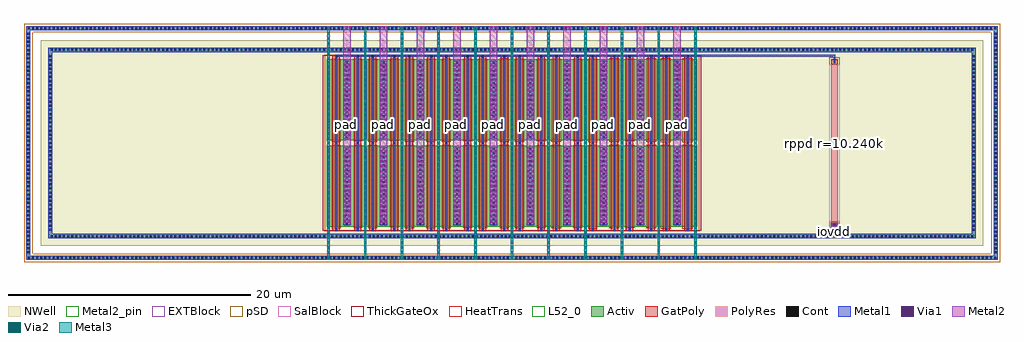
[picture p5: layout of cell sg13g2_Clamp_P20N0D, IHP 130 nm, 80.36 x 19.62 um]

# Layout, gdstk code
import gdstk
lib = gdstk.Library(unit=1e-6, precision=1e-09)
def R(c, l, rs):  # rectangles x0, y0, x1, y1
    for r in rs: c.add(gdstk.rectangle(r[:2], r[2:], *l))
def A(c, l, x, y, w, h, nx, ny, dx, dy):  # array of equal rectangles
    R(c, l, [(x+i*dx, y+j*dy, x+i*dx+w, y+j*dy+h) for i in range(nx) for j in range(ny)])
def P(c, l, *ps):  # polygons
    for p in ps: c.add(gdstk.Polygon(p, *l))
Activ = (1, 0)
GatPoly = (5, 0)
Cont = (6, 0)
Metal1 = (8, 0)
Metal2 = (10, 0)
Metal2_pin = (10, 2)
pSD = (14, 0)
Via1 = (19, 0)
SalBlock = (28, 0)
Via2 = (29, 0)
Metal3 = (30, 0)
NWell = (31, 0)
ThickGateOx = (44, 0)
HeatTrans = (51, 0)
L52_0 = (52, 0)
EXTBlock = (111, 0)
PolyRes = (128, 0)

sg13g2_guardring_p16000w = lib.new_cell('sg13g2_GuardRing_P16000W3852HFF')
P(sg13g2_guardring_p16000w, Activ, [(-40,-9.63),(-40,9.29),(-39.66,9.29),(-39.66,-9.29),(39.66,-9.29),(39.66,9.29),(-40,9.29),(-40,9.63),(40,9.63),(40,-9.63)])
A(sg13g2_guardring_p16000w, Cont, -39.86, -9.54, 0.16, 0.16, 235, 2, 0.34, 18.92)
A(sg13g2_guardring_p16000w, Cont, -39.91, -9.09, 0.16, 0.16, 1, 54, 0, 0.34)
A(sg13g2_guardring_p16000w, Cont, 39.75, -9.09, 0.16, 0.16, 1, 54, 0, 0.34)
P(sg13g2_guardring_p16000w, Metal1, [(-40,-9.63),(-40,9.29),(-39.66,9.29),(-39.66,-9.29),(39.66,-9.29),(39.66,9.29),(-40,9.29),(-40,9.63),(40,9.63),(40,-9.63)])
P(sg13g2_guardring_p16000w, pSD, [(-40.18,-9.81),(-40.18,9.11),(-39.48,9.11),(-39.48,-9.11),(39.48,-9.11),(39.48,9.11),(-40.18,9.11),(-40.18,9.81),(40.18,9.81),(40.18,-9.81)])
sg13g2_guardring_p16000w.add(gdstk.Label('sub!', (-39.83,-9.46), layer=63, texttype=0))

sg13g2_guardring_n15280w = lib.new_cell('sg13g2_GuardRing_N15280W3132HTF')
P(sg13g2_guardring_n15280w, Activ, [(-38.2,-7.83),(-38.2,7.49),(-37.86,7.49),(-37.86,-7.49),(37.86,-7.49),(37.86,7.49),(-38.2,7.49),(-38.2,7.83),(38.2,7.83),(38.2,-7.83)])
A(sg13g2_guardring_n15280w, Cont, -37.99, -7.74, 0.16, 0.16, 224, 2, 0.34, 15.32)
A(sg13g2_guardring_n15280w, Cont, -38.11, -7.22, 0.16, 0.16, 1, 43, 0, 0.34)
A(sg13g2_guardring_n15280w, Cont, 37.95, -7.22, 0.16, 0.16, 1, 43, 0, 0.34)
P(sg13g2_guardring_n15280w, Metal1, [(-38.2,-7.83),(-38.2,7.49),(-37.86,7.49),(-37.86,-7.49),(37.86,-7.49),(37.86,7.49),(-38.2,7.49),(-38.2,7.83),(38.2,7.83),(38.2,-7.83)])
R(sg13g2_guardring_n15280w, NWell, [(-38.82,-8.45,38.82,8.45)])

sg13g2_clamp_p20n0d = lib.new_cell('sg13g2_Clamp_P20N0D')
R(sg13g2_clamp_p20n0d, Activ, [(24.75,2.75,55.25,9.41), (24.75,9.85,55.25,16.51)])
R(sg13g2_clamp_p20n0d, GatPoly, [(25.22,2.38,25.82,16.88), (27,2.38,27.6,16.88), (28.24,2.38,28.84,16.88), (30.02,2.38,30.62,16.88), (31.26,2.38,31.86,16.88), (33.04,2.38,33.64,16.88), (34.28,2.38,34.88,16.88), (36.06,2.38,36.66,16.88), (37.3,2.38,37.9,16.88), (39.08,2.38,39.68,16.88), (40.32,2.38,40.92,16.88), (42.1,2.38,42.7,16.88), (43.34,2.38,43.94,16.88), (45.12,2.38,45.72,16.88), (46.36,2.38,46.96,16.88), (48.14,2.38,48.74,16.88), (49.38,2.38,49.98,16.88), (51.16,2.38,51.76,16.88), (52.4,2.38,53,16.88), (54.18,2.38,54.78,16.88), (66.305,2.75,66.805,3.18), (66.305,16.08,66.805,16.51)])
A(sg13g2_clamp_p20n0d, Cont, 25.44, 2.45, 0.16, 0.16, 1, 3, 0, 7.1)
A(sg13g2_clamp_p20n0d, Cont, 27.22, 2.45, 0.16, 0.16, 1, 3, 0, 7.1)
A(sg13g2_clamp_p20n0d, Cont, 28.46, 2.45, 0.16, 0.16, 1, 3, 0, 7.1)
A(sg13g2_clamp_p20n0d, Cont, 30.24, 2.45, 0.16, 0.16, 1, 3, 0, 7.1)
A(sg13g2_clamp_p20n0d, Cont, 31.48, 2.45, 0.16, 0.16, 1, 3, 0, 7.1)
A(sg13g2_clamp_p20n0d, Cont, 33.26, 2.45, 0.16, 0.16, 1, 3, 0, 7.1)
A(sg13g2_clamp_p20n0d, Cont, 34.5, 2.45, 0.16, 0.16, 1, 3, 0, 7.1)
A(sg13g2_clamp_p20n0d, Cont, 36.28, 2.45, 0.16, 0.16, 1, 3, 0, 7.1)
A(sg13g2_clamp_p20n0d, Cont, 37.52, 2.45, 0.16, 0.16, 1, 3, 0, 7.1)
A(sg13g2_clamp_p20n0d, Cont, 39.3, 2.45, 0.16, 0.16, 1, 3, 0, 7.1)
A(sg13g2_clamp_p20n0d, Cont, 40.54, 2.45, 0.16, 0.16, 1, 3, 0, 7.1)
A(sg13g2_clamp_p20n0d, Cont, 42.32, 2.45, 0.16, 0.16, 1, 3, 0, 7.1)
A(sg13g2_clamp_p20n0d, Cont, 43.56, 2.45, 0.16, 0.16, 1, 3, 0, 7.1)
A(sg13g2_clamp_p20n0d, Cont, 45.34, 2.45, 0.16, 0.16, 1, 3, 0, 7.1)
A(sg13g2_clamp_p20n0d, Cont, 46.58, 2.45, 0.16, 0.16, 1, 3, 0, 7.1)
A(sg13g2_clamp_p20n0d, Cont, 48.36, 2.45, 0.16, 0.16, 1, 3, 0, 7.1)
A(sg13g2_clamp_p20n0d, Cont, 49.6, 2.45, 0.16, 0.16, 1, 3, 0, 7.1)
A(sg13g2_clamp_p20n0d, Cont, 51.38, 2.45, 0.16, 0.16, 1, 3, 0, 7.1)
A(sg13g2_clamp_p20n0d, Cont, 52.62, 2.45, 0.16, 0.16, 1, 3, 0, 7.1)
A(sg13g2_clamp_p20n0d, Cont, 54.4, 2.45, 0.16, 0.16, 1, 3, 0, 7.1)
A(sg13g2_clamp_p20n0d, Cont, 24.82, 2.94, 0.16, 0.16, 21, 19, 1.51, 0.34)
A(sg13g2_clamp_p20n0d, Cont, 24.82, 10.04, 0.16, 0.16, 21, 19, 1.51, 0.34)
R(sg13g2_clamp_p20n0d, Cont, [(66.475,2.82,66.635,2.98), (66.475,16.28,66.635,16.44)])
A(sg13g2_clamp_p20n0d, Metal1, 24.795, 1.8, 0.21, 0.34, 11, 2, 3.02, 15.32)
A(sg13g2_clamp_p20n0d, Metal1, 24.795, 2.86, 0.21, 6.44, 11, 2, 3.02, 7.1)
A(sg13g2_clamp_p20n0d, Metal1, 26.1, 2.86, 0.62, 6.44, 10, 2, 3.02, 7.1)
R(sg13g2_clamp_p20n0d, Metal1, [(66.245,1.825,66.865,2.115)])
P(sg13g2_clamp_p20n0d, Metal1, [(66.475,2.74),(66.475,2.755),(66.245,2.755),(66.245,3.045),(66.475,3.045),(66.475,3.06),(66.635,3.06),(66.635,3.045),(66.865,3.045),(66.865,2.755),(66.635,2.755),(66.635,2.74)],
  [(25.44,2.37),(25.44,16.89),(66.635,16.89),(66.635,16.2),(66.475,16.2),(66.475,16.73),(54.56,16.73),(54.56,2.37),(54.4,2.37),(54.4,16.73),(52.78,16.73),(52.78,2.37),(52.62,2.37),(52.62,16.73),(51.54,16.73),(51.54,2.37),(51.38,2.37),(51.38,16.73),(49.76,16.73),(49.76,2.37),(49.6,2.37),(49.6,16.73),(48.52,16.73),(48.52,2.37),(48.36,2.37),(48.36,16.73),(46.74,16.73),(46.74,2.37),(46.58,2.37),(46.58,16.73),(45.5,16.73),(45.5,2.37),(45.34,2.37),(45.34,16.73),(43.72,16.73),(43.72,2.37),(43.56,2.37),(43.56,16.73),(42.48,16.73),(42.48,2.37),(42.32,2.37),(42.32,16.73),(40.7,16.73),(40.7,2.37),(40.54,2.37),(40.54,16.73),(39.46,16.73),(39.46,2.37),(39.3,2.37),(39.3,16.73),(37.68,16.73),(37.68,2.37),(37.52,2.37),(37.52,16.73),(36.44,16.73),(36.44,2.37),(36.28,2.37),(36.28,16.73),(34.66,16.73),(34.66,2.37),(34.5,2.37),(34.5,16.73),(33.42,16.73),(33.42,2.37),(33.26,2.37),(33.26,16.73),(31.64,16.73),(31.64,2.37),(31.48,2.37),(31.48,16.73),(30.4,16.73),(30.4,2.37),(30.24,2.37),(30.24,16.73),(28.62,16.73),(28.62,2.37),(28.46,2.37),(28.46,16.73),(27.38,16.73),(27.38,2.37),(27.22,2.37),(27.22,16.73),(25.6,16.73),(25.6,2.37)])
A(sg13g2_clamp_p20n0d, Metal2, 24.8, 0, 0.2, 19.26, 11, 1, 3.02, 0)
A(sg13g2_clamp_p20n0d, Metal2, 26.105, 3.065, 0.61, 16.195, 10, 1, 3.02, 0)
R(sg13g2_clamp_p20n0d, Metal2, [(66.25,1.825,66.86,3.045)])
A(sg13g2_clamp_p20n0d, Metal2_pin, 26.105, 3.065, 0.61, 16.195, 10, 1, 3.02, 0)
R(sg13g2_clamp_p20n0d, pSD, [(24.57,2.35,55.43,16.91), (66.125,2.57,66.985,16.69)])
A(sg13g2_clamp_p20n0d, Via1, 24.805, 1.875, 0.19, 0.19, 11, 2, 3.02, 15.32)
A(sg13g2_clamp_p20n0d, Via1, 24.805, 3.115, 0.19, 0.19, 1, 15, 0, 0.41)
A(sg13g2_clamp_p20n0d, Via1, 26.11, 3.115, 0.19, 0.19, 1, 15, 0, 0.41)
A(sg13g2_clamp_p20n0d, Via1, 26.52, 3.115, 0.19, 0.19, 3, 15, 1.305, 0.41)
A(sg13g2_clamp_p20n0d, Via1, 29.54, 3.115, 0.19, 0.19, 3, 15, 1.305, 0.41)
A(sg13g2_clamp_p20n0d, Via1, 32.56, 3.115, 0.19, 0.19, 3, 15, 1.305, 0.41)
A(sg13g2_clamp_p20n0d, Via1, 35.58, 3.115, 0.19, 0.19, 3, 15, 1.305, 0.41)
A(sg13g2_clamp_p20n0d, Via1, 38.6, 3.115, 0.19, 0.19, 3, 15, 1.305, 0.41)
A(sg13g2_clamp_p20n0d, Via1, 41.62, 3.115, 0.19, 0.19, 3, 15, 1.305, 0.41)
A(sg13g2_clamp_p20n0d, Via1, 44.64, 3.115, 0.19, 0.19, 3, 15, 1.305, 0.41)
A(sg13g2_clamp_p20n0d, Via1, 47.66, 3.115, 0.19, 0.19, 3, 15, 1.305, 0.41)
A(sg13g2_clamp_p20n0d, Via1, 50.68, 3.115, 0.19, 0.19, 3, 15, 1.305, 0.41)
A(sg13g2_clamp_p20n0d, Via1, 53.7, 3.115, 0.19, 0.19, 1, 15, 0, 0.41)
A(sg13g2_clamp_p20n0d, Via1, 55.005, 3.115, 0.19, 0.19, 1, 15, 0, 0.41)
A(sg13g2_clamp_p20n0d, Via1, 24.805, 10.215, 0.19, 0.19, 1, 15, 0, 0.41)
A(sg13g2_clamp_p20n0d, Via1, 26.11, 10.215, 0.19, 0.19, 1, 15, 0, 0.41)
A(sg13g2_clamp_p20n0d, Via1, 26.52, 10.215, 0.19, 0.19, 3, 15, 1.305, 0.41)
A(sg13g2_clamp_p20n0d, Via1, 29.54, 10.215, 0.19, 0.19, 3, 15, 1.305, 0.41)
A(sg13g2_clamp_p20n0d, Via1, 32.56, 10.215, 0.19, 0.19, 3, 15, 1.305, 0.41)
A(sg13g2_clamp_p20n0d, Via1, 35.58, 10.215, 0.19, 0.19, 3, 15, 1.305, 0.41)
A(sg13g2_clamp_p20n0d, Via1, 38.6, 10.215, 0.19, 0.19, 3, 15, 1.305, 0.41)
A(sg13g2_clamp_p20n0d, Via1, 41.62, 10.215, 0.19, 0.19, 3, 15, 1.305, 0.41)
A(sg13g2_clamp_p20n0d, Via1, 44.64, 10.215, 0.19, 0.19, 3, 15, 1.305, 0.41)
A(sg13g2_clamp_p20n0d, Via1, 47.66, 10.215, 0.19, 0.19, 3, 15, 1.305, 0.41)
A(sg13g2_clamp_p20n0d, Via1, 50.68, 10.215, 0.19, 0.19, 3, 15, 1.305, 0.41)
A(sg13g2_clamp_p20n0d, Via1, 53.7, 10.215, 0.19, 0.19, 1, 15, 0, 0.41)
A(sg13g2_clamp_p20n0d, Via1, 55.005, 10.215, 0.19, 0.19, 1, 15, 0, 0.41)
R(sg13g2_clamp_p20n0d, Via1, [(66.255,1.875,66.445,2.065), (66.665,1.875,66.855,2.065), (66.255,2.805,66.445,2.995), (66.665,2.805,66.855,2.995)])
R(sg13g2_clamp_p20n0d, SalBlock, [(66.105,3.18,67.005,16.08)])
A(sg13g2_clamp_p20n0d, Via2, 24.805, 0.105, 0.19, 0.19, 11, 47, 3.02, 0.41)
A(sg13g2_clamp_p20n0d, Metal3, 24.8, 0.055, 0.2, 19.15, 11, 1, 3.02, 0)
R(sg13g2_clamp_p20n0d, NWell, [(24.13,2.13,55.87,17.13)])
R(sg13g2_clamp_p20n0d, ThickGateOx, [(24.41,2.41,55.59,16.85)])
R(sg13g2_clamp_p20n0d, HeatTrans, [(46.284,2.578,47.034,9.436), (52.258,2.583,53.067,9.463), (54.033,2.583,54.891,9.469), (31.164,2.594,31.968,9.453), (40.219,2.599,40.991,9.458), (43.225,2.599,44.045,9.436), (34.202,2.605,34.957,9.447), (37.218,2.605,37.958,9.447), (28.147,2.615,28.924,9.431), (32.955,2.615,33.689,9.447), (38.972,2.615,39.749,9.49), (25.163,2.621,25.897,9.426), (51.065,2.621,51.859,9.469), (47.99,2.626,48.815,9.469), (45.043,2.632,45.799,9.436), (49.322,2.632,50.089,9.458), (42.021,2.637,42.793,9.453), (35.967,2.642,36.738,9.436), (26.955,2.659,27.651,9.436), (29.95,2.675,30.694,9.453), (46.284,9.703,47.034,16.561), (52.258,9.708,53.067,16.588), (54.033,9.708,54.891,16.594), (31.164,9.719,31.968,16.578), (40.219,9.724,40.991,16.583), (43.225,9.724,44.045,16.561), (34.202,9.73,34.957,16.572), (37.218,9.73,37.958,16.572), (28.147,9.74,28.924,16.556), (32.955,9.74,33.689,16.572), (38.972,9.74,39.749,16.615), (25.163,9.746,25.897,16.551), (51.065,9.746,51.859,16.594), (47.99,9.751,48.815,16.594), (45.043,9.757,45.799,16.561), (49.322,9.757,50.089,16.583), (42.021,9.762,42.793,16.578), (35.967,9.767,36.738,16.561), (26.955,9.784,27.651,16.561), (29.95,9.8,30.694,16.578)])
R(sg13g2_clamp_p20n0d, L52_0, [(66.305,3.18,66.805,16.08)])
P(sg13g2_clamp_p20n0d, L52_0, [(67.732,13.222),(67.732,13.222),(67.732,13.222),(67.732,13.222)])
R(sg13g2_clamp_p20n0d, EXTBlock, [(66.125,2.57,66.985,16.69)])
R(sg13g2_clamp_p20n0d, PolyRes, [(66.305,3.18,66.805,16.08)])
sg13g2_clamp_p20n0d.add(gdstk.Reference(sg13g2_guardring_p16000w, (40,9.63)))
sg13g2_clamp_p20n0d.add(gdstk.Reference(sg13g2_guardring_n15280w, (40,9.63)))
sg13g2_clamp_p20n0d.add(gdstk.Label('rppd r=10.240k', (66.555,9.63), layer=63, texttype=0))
sg13g2_clamp_p20n0d.add(gdstk.Label('pad', (26.41,11.163), layer=63, texttype=0))
sg13g2_clamp_p20n0d.add(gdstk.Label('pad', (29.43,11.163), layer=63, texttype=0))
sg13g2_clamp_p20n0d.add(gdstk.Label('pad', (32.45,11.163), layer=63, texttype=0))
sg13g2_clamp_p20n0d.add(gdstk.Label('pad', (35.47,11.163), layer=63, texttype=0))
sg13g2_clamp_p20n0d.add(gdstk.Label('pad', (38.49,11.163), layer=63, texttype=0))
sg13g2_clamp_p20n0d.add(gdstk.Label('pad', (41.51,11.163), layer=63, texttype=0))
sg13g2_clamp_p20n0d.add(gdstk.Label('pad', (44.53,11.163), layer=63, texttype=0))
sg13g2_clamp_p20n0d.add(gdstk.Label('pad', (47.55,11.163), layer=63, texttype=0))
sg13g2_clamp_p20n0d.add(gdstk.Label('pad', (50.57,11.163), layer=63, texttype=0))
sg13g2_clamp_p20n0d.add(gdstk.Label('pad', (53.59,11.163), layer=63, texttype=0))
sg13g2_clamp_p20n0d.add(gdstk.Label('iovdd', (66.517,2.359), layer=63, texttype=0))

lib.write_gds('sg13g2_Clamp_P20N0D.gds')
